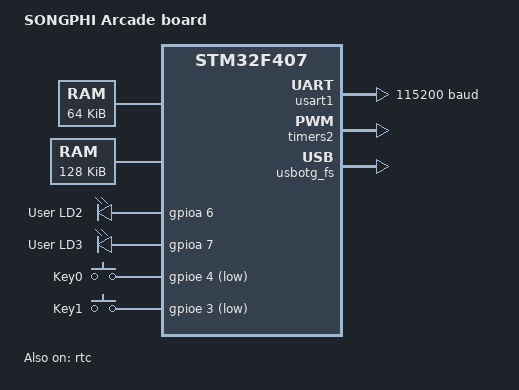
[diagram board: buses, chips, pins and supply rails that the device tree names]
/*
 * Copyright (c) 2017 Linaro Limited
 *
 * SPDX-License-Identifier: Apache-2.0
 */

/dts-v1/;

#include <mem.h>
#include <st/f4/stm32f407.dtsi>

/ {
	model = "SONGPHI Arcade board";
	compatible = "st,stm32f407";

	ccm0: memory@10000000 {
		compatible = "st,stm32-ccm";
		reg = <0x10000000 DT_SIZE_K(64)>;
	};

	sram0: memory@20000000 {
		reg = <0x20000000 DT_SIZE_K(128)>;
	};

	soc {
		flash-controller@40023c00 {
			flash0: flash@8000000 {
				reg = <0x08000000 DT_SIZE_K(512)>;
			};
		};
	};

	chosen {
		zephyr,console = &usart1;
		zephyr,shell-uart = &usart1;
		zephyr,sram = &sram0;
		zephyr,flash = &flash0;
		zephyr,ccm = &ccm0;
	};

	leds {
		compatible = "gpio-leds";
		led_2: led_2 {
			gpios = <&gpioa 6 GPIO_INT_ACTIVE_HIGH>;
			label = "User LD2";
		};
		led_3: led_3 {
			gpios = <&gpioa 7 GPIO_INT_ACTIVE_HIGH>;
			label = "User LD3";
		};
	};

	gpio_keys {
		compatible = "gpio-keys";

		k0_button: k0_button {
			label = "Key0";
			gpios = <&gpioe 4 GPIO_INT_ACTIVE_LOW>;
		};

		k1_button: k1_button {
			label = "Key1";
			gpios = <&gpioe 3 GPIO_INT_ACTIVE_LOW>;
		};
	};

	aliases {
		led0 = &led_2;
		led1 = &led_3;
		sw0 = &k0_button;
		sw1 = &k1_button;
	};
};

&usart1 {
	current-speed = <115200>;
	pinctrl-0 = <&usart1_pins_a>;
	pinctrl-names = "default";
	status = "ok";
};

&timers2 {
	status = "ok";

	pwm {
		status = "ok";
	};
};

&rtc {
	status = "ok";
};

&usbotg_fs {
	status = "ok";
};
